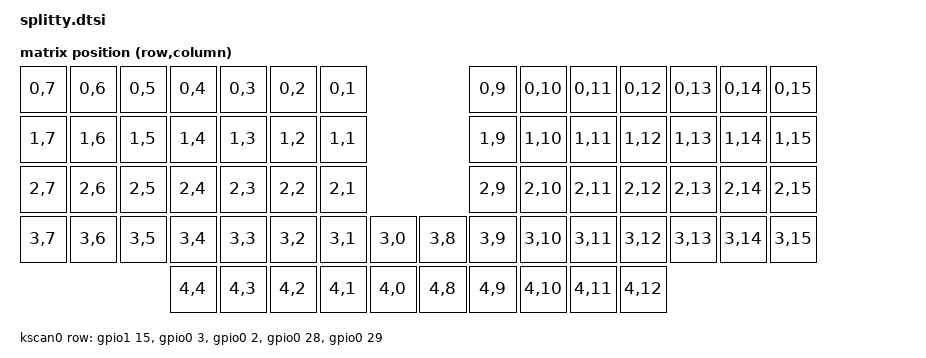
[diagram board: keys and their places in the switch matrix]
/*
 * Copyright (c) 2020 The ZMK Contributors
 *
 * SPDX-License-Identifier: MIT
 */

#include <dt-bindings/zmk/matrix_transform.h>
#include "splitty-pinctrl.dtsi"

/ {
	chosen {
		zmk,kscan = &kscan0;
		zmk,matrix_transform = &default_transform;
		zmk,battery = &vbatt;
	};

    leds {
        compatible = "gpio-leds";
        blue_led: led_0 {
            gpios = <&gpio1 10 GPIO_ACTIVE_HIGH>;
            label = "Blue LED";
        };
    };

    ext-power {
        compatible = "zmk,ext-power-generic";
        label = "EXT_POWER";
        control-gpios = <&gpio1 9 GPIO_ACTIVE_LOW>;
    };

    vbatt: vbatt {
        compatible = "zmk,battery-voltage-divider";
        label = "BATTERY";
        io-channels = <&adc 2>;
        output-ohms = <2000000>;
        full-ohms = <(2000000 + 820000)>;
    };

    default_transform: keymap_transform_0 {
        compatible = "zmk,matrix-transform";
        columns = <16>;
        rows = <5>;
// | SW28 | SW24 | SW20 | SW16 | SW11 | SW6  | SW2  |                  | SW2  | SW11 | SW16 | SW20 | SW24 | SW28 |
// | SW29 | SW25 | SW21 | SW17 | SW12 | SW7  | SW3  |                  | SW3  | SW12 | SW17 | SW21 | SW25 | SW29 |
// | SW30 | SW26 | SW22 | SW18 | SW13 | SW8  | SW4  |                  | SW4  | SW13 | SW18 | SW22 | SW26 | SW30 |
// | SW31 | SW27 | SW23 | SW19 | SW14 | SW9  | SW5A | SW1A  |   | SW1A | SW5A | SW14 | SW19 | SW23 | SW27 | SW31 |
//                      | SW33 | SW15 | SW10 | SW5B | SW1B  |   | SW1B | SW5B | SW15 | SW33 |
        map = <
RC(0,7) RC(0,6) RC(0,5) RC(0,4) RC(0,3) RC(0,2) RC(0,1)                   RC(0,9) RC(0,10) RC(0,11) RC(0,12) RC(0,13) RC(0,14) RC(0,15)
RC(1,7) RC(1,6) RC(1,5) RC(1,4) RC(1,3) RC(1,2) RC(1,1)                   RC(1,9) RC(1,10) RC(1,11) RC(1,12) RC(1,13) RC(1,14) RC(1,15)
RC(2,7) RC(2,6) RC(2,5) RC(2,4) RC(2,3) RC(2,2) RC(2,1)                   RC(2,9) RC(2,10) RC(2,11) RC(2,12) RC(2,13) RC(2,14) RC(2,15)
RC(3,7) RC(3,6) RC(3,5) RC(3,4) RC(3,3) RC(3,2) RC(3,1) RC(3,0)   RC(3,8) RC(3,9) RC(3,10) RC(3,11) RC(3,12) RC(3,13) RC(3,14) RC(3,15)
                        RC(4,4) RC(4,3) RC(4,2) RC(4,1) RC(4,0)   RC(4,8) RC(4,9) RC(4,10) RC(4,11) RC(4,12) 
        >;
    };

	kscan0: kscan {
		compatible = "zmk,kscan-gpio-matrix";
		label = "KSCAN";

		diode-direction = "col2row";
		row-gpios
			= <&gpio1 15 (GPIO_ACTIVE_HIGH | GPIO_PULL_DOWN)>
			, <&gpio0 3 (GPIO_ACTIVE_HIGH | GPIO_PULL_DOWN)>
			, <&gpio0 2 (GPIO_ACTIVE_HIGH | GPIO_PULL_DOWN)>
			, <&gpio0 28 (GPIO_ACTIVE_HIGH | GPIO_PULL_DOWN)>
			, <&gpio0 29 (GPIO_ACTIVE_HIGH | GPIO_PULL_DOWN)>
			;
	};
};

&i2c0 {
    compatible = "nordic,nrf-twi";
    pinctrl-0 = <&i2c0_default>;
    pinctrl-1 = <&i2c0_sleep>;
    pinctrl-names = "default", "sleep";
};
